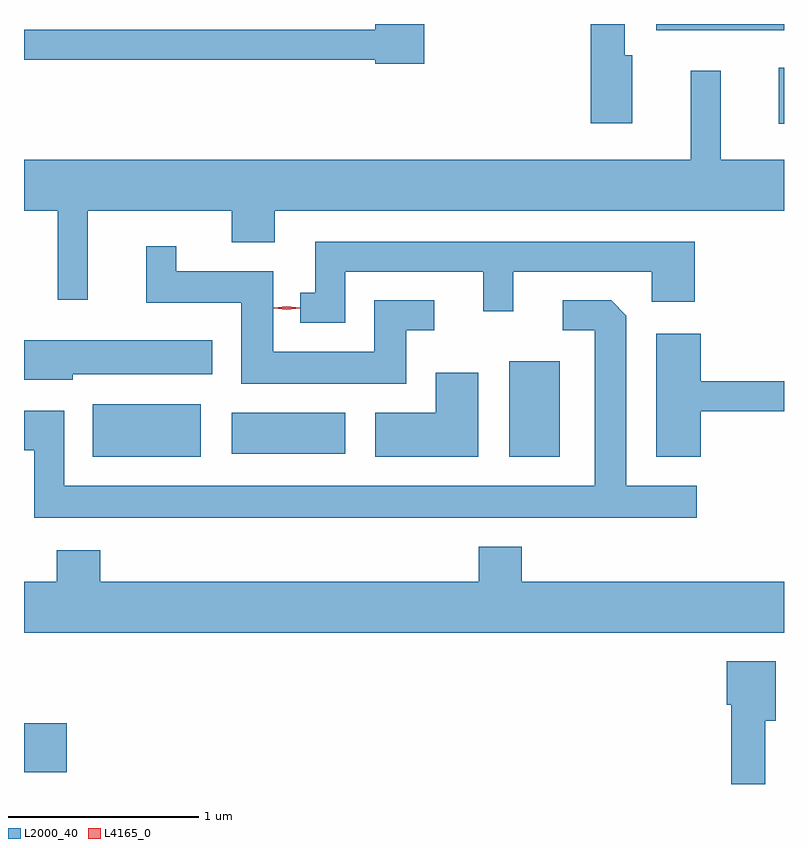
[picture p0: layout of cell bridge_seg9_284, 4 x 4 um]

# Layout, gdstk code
import gdstk
lib = gdstk.Library(unit=1e-6, precision=1e-09)
def R(c, l, rs):  # rectangles x0, y0, x1, y1
    for r in rs: c.add(gdstk.rectangle(r[:2], r[2:], *l))
def P(c, l, *ps):  # polygons
    for p in ps: c.add(gdstk.Polygon(p, *l))
L2000_40 = (2000, 40)
L4165_0 = (4165, 0)

bridge_seg9_284 = lib.new_cell('bridge_seg9_284')
R(bridge_seg9_284, L2000_40, [(1015.208,2044.361,1015.434,2044.619), (1015.571,2046.021,1016.139,2046.299), (1017.761,2046.021,1018.029,2046.524), (1016.301,2046.036,1016.899,2046.254), (1019.181,2047.773,1019.208,2048.069), (1018.536,2048.266,1019.208,2048.299)])
P(bridge_seg9_284, L2000_40, [(1018.409,2048.134),(1018.369,2048.134),(1018.369,2048.299),(1018.191,2048.299),(1018.191,2047.776),(1018.409,2047.776)],
  [(1017.314,2048.299),(1017.056,2048.299),(1017.056,2048.269),(1015.208,2048.269),(1015.208,2048.111),(1017.056,2048.111),(1017.056,2048.091),(1017.314,2048.091)],
  [(1015.544,2047.316),(1016.301,2047.316),(1016.301,2047.151),(1016.529,2047.151),(1016.529,2047.316),(1019.208,2047.316),(1019.208,2047.584),(1018.874,2047.584),(1018.874,2048.053),(1018.716,2048.053),(1018.716,2047.584),(1015.208,2047.584),(1015.208,2047.316),(1015.386,2047.316),(1015.386,2046.848),(1015.544,2046.848)],
  [(1016.899,2046.996),(1017.626,2046.996),(1017.626,2046.788),(1017.784,2046.788),(1017.784,2046.996),(1018.511,2046.996),(1018.511,2046.836),(1018.739,2046.836),(1018.739,2047.154),(1016.741,2047.154),(1016.741,2046.884),(1016.663,2046.884),(1016.663,2046.726),(1016.899,2046.726)],
  [(1017.219,2046.686),(1017.368,2046.686),(1017.368,2046.844),(1017.051,2046.844),(1017.051,2046.574),(1016.519,2046.574),(1016.519,2046.999),(1016.009,2046.999),(1016.009,2047.128),(1015.851,2047.128),(1015.851,2046.831),(1016.351,2046.831),(1016.351,2046.406),(1017.219,2046.406)],
  [(1018.748,2045.869),(1018.379,2045.869),(1018.379,2046.764),(1018.299,2046.844),(1018.043,2046.844),(1018.043,2046.686),(1018.211,2046.686),(1018.211,2045.869),(1015.419,2045.869),(1015.419,2046.264),(1015.208,2046.264),(1015.208,2046.056),(1015.261,2046.056),(1015.261,2045.701),(1018.748,2045.701)],
  [(1018.769,2046.261),(1019.208,2046.261),(1019.208,2046.419),(1018.769,2046.419),(1018.769,2046.669),(1018.536,2046.669),(1018.536,2046.021),(1018.769,2046.021)],
  [(1015.464,2046.456),(1016.199,2046.456),(1016.199,2046.634),(1015.208,2046.634),(1015.208,2046.426),(1015.464,2046.426)],
  [(1017.599,2046.464),(1017.376,2046.464),(1017.376,2046.254),(1017.056,2046.254),(1017.056,2046.021),(1017.599,2046.021)],
  [(1019.208,2045.364),(1017.829,2045.364),(1017.829,2045.549),(1017.601,2045.549),(1017.601,2045.364),(1015.609,2045.364),(1015.609,2045.529),(1015.381,2045.529),(1015.381,2045.364),(1015.208,2045.364),(1015.208,2045.096),(1019.208,2045.096)],
  [(1019.109,2044.631),(1019.164,2044.631),(1019.164,2044.944),(1018.906,2044.944),(1018.906,2044.716),(1018.931,2044.716),(1018.931,2044.299),(1019.109,2044.299)])
P(bridge_seg9_284, L4165_0, [(1016.591,2046.795),(1016.522,2046.804),(1016.522,2046.804),(1016.522,2046.805),(1016.591,2046.814),(1016.661,2046.805),(1016.661,2046.805),(1016.661,2046.804)])

lib.write_gds('bridge_seg9_284.gds')
